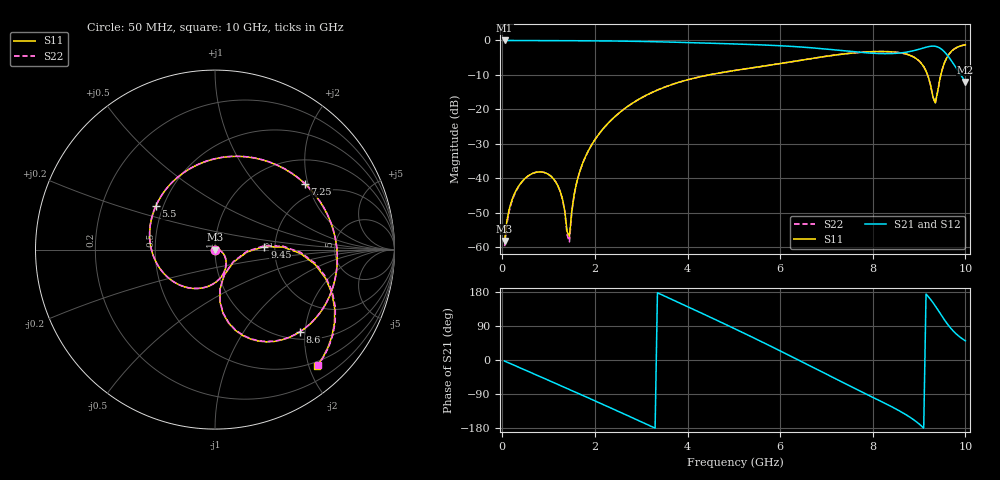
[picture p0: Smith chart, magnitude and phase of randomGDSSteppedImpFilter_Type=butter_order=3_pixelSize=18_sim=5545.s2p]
! freq	dB(S11)	phase(S11)	dB(S12)	phase(S12)
!  dB(S21)	phase(S21)	dB(S22)	phase(S22)
!S-par simulation data
#  GHz  S  DB  R 50
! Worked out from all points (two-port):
!   200 points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, 50 MHz to 10 GHz, reference 50 ohm
!   highest |S21| = -0.02 dB at 50 MHz (marker M1); lowest = -12.1 dB at 10 GHz (marker M2)
!   |S21| within 3 dB of the highest: start of sweep to 7.372 GHz; 8.872 GHz to 9.524 GHz (651.8 MHz wide, 7.09 % of centre)
!   lowest |S11| = -58.2 dB at 50 MHz (marker M3), VSWR 1.00, Z = 50 - j0.123 ohm
!   |S11| at or under -10 dB: start of sweep to 4.473 GHz; 9.182 GHz to 9.472 GHz (289.7 MHz wide, 3.11 % of centre)
!   |S22| runs from -59.8 to -1.3 dB; largest |S21 - S12| = 0
!   S11 on the Smith chart (normalised r, x): 50 MHz: 1.00, -0.00; 5.5 GHz: 0.46, +0.27; 7.25 GHz: 1.61, +1.91; 8.6 GHz: 1.16, -1.88; 9.45 GHz: 1.76, +0.06; 10 GHz: 0.42, -2.14
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0.05  -58.22 -89.6  -0.02 -2.8  -0.02 -2.8  -59.76 -93.5
0.15  -48.99 -98.8  -0.03 -8.1  -0.03 -8.1  -49.56 -100.1
0.3  -43.52 -107.5  -0.04 -16.1  -0.04 -16.1  -43.71 -107.3
0.8  -38.18 -134.5  -0.06 -42.9  -0.06 -42.9  -38.18 -134.0
1.2  -42.20 -160.0  -0.08 -64.4  -0.08 -64.4  -42.21 -158.4
1.45  -56.89 69.8  -0.09 -77.9  -0.09 -77.9  -58.52 63.8
1.55  -44.93 19.2  -0.10 -83.3  -0.10 -83.3  -45.07 15.6
1.75  -35.22 0.5  -0.11 -94.1  -0.11 -94.1  -35.25 -1.0
2.65  -19.74 -52.9  -0.22 -143.5  -0.22 -143.5  -19.74 -53.3
3.4  -14.13 -95.2  -0.41 174.6  -0.41 174.6  -14.13 -95.4
4.3  -10.48 -146.2  -0.74 123.8  -0.74 123.8  -10.48 -146.3
5.05  -8.67 170.4  -1.05 80.7  -1.05 80.7  -8.67 170.5
5.5  -7.76 143.7  -1.25 54.2  -1.25 54.2  -7.76 143.9
6.7  -5.22 69.9  -2.18 -19.0  -2.18 -19.0  -5.22 70.4
7.25  -4.14 36.1  -2.86 -53.0  -2.86 -53.0  -4.14 36.6
8.35  -3.28 -28.7  -3.84 -119.6  -3.84 -119.6  -3.28 -28.3
8.6  -3.62 -44.0  -3.64 -135.9  -3.64 -135.9  -3.62 -43.6
9.1  -7.62 -79.6  -2.18 -179.8  -2.18 -179.8  -7.63 -79.3
9.35  -18.15 -34.3  -1.71 142.7  -1.71 142.7  -18.30 -33.8
9.45  -11.19 3.5  -2.22 124.0  -2.22 124.0  -11.22 4.4
9.7  -3.15 -20.6  -5.95 81.6  -5.95 81.6  -3.15 -19.9
10  -1.28 -48.8  -12.06 50.4  -12.06 50.4  -1.27 -48.2
